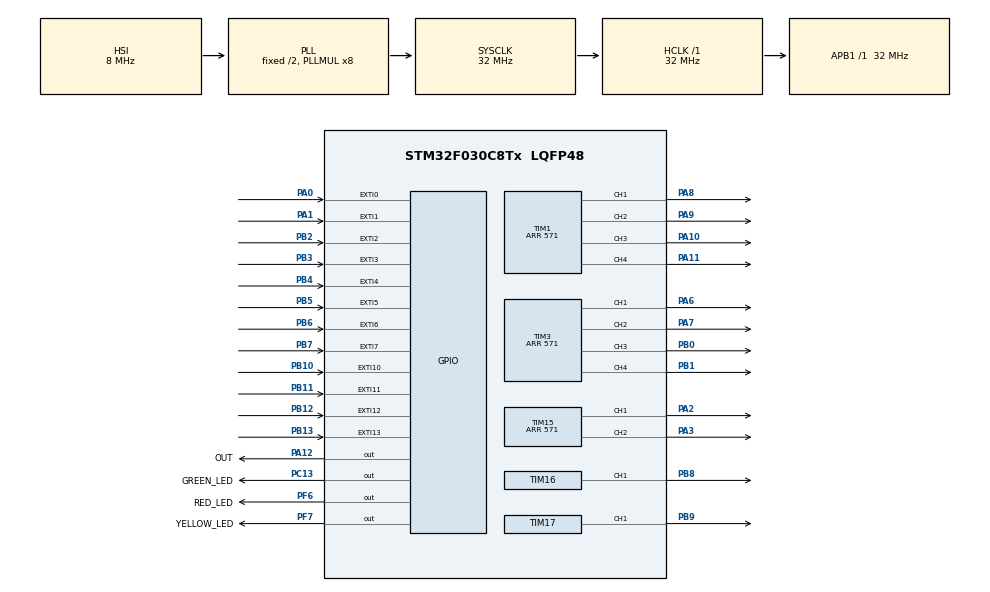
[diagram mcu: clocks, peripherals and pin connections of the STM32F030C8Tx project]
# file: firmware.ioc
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Mcu.Family=STM32F0
Mcu.Name=STM32F030C8Tx
Mcu.Package=LQFP48
NVIC.EXTI0_1_IRQn=true\:0\:0\:false\:false\:true\:true\:true
NVIC.EXTI2_3_IRQn=true\:0\:0\:false\:false\:true\:true\:true
NVIC.EXTI4_15_IRQn=true\:0\:0\:false\:false\:true\:true\:true
NVIC.TIM6_IRQn=true\:0\:0\:false\:false\:true\:true\:true
PA0.GPIO_ModeDefaultEXTI=GPIO_MODE_IT_FALLING
PA0.GPIO_PuPd=GPIO_PULLUP
PA0.Signal=GPXTI0
PA1.GPIO_ModeDefaultEXTI=GPIO_MODE_IT_FALLING
PA1.GPIO_PuPd=GPIO_PULLUP
PA1.Signal=GPXTI1
PA10.GPIO_PuPd=GPIO_PULLUP
PA10.Signal=S_TIM1_CH3
PA11.GPIO_PuPd=GPIO_PULLUP
PA11.Signal=S_TIM1_CH4
PA12.GPIO_Label=OUT
PA12.Signal=GPIO_Output
PA13.Mode=Serial_Wire
PA13.Signal=SYS_SWDIO
PA14.Mode=Serial_Wire
PA14.Signal=SYS_SWCLK
PA2.GPIO_PuPd=GPIO_PULLUP
PA2.Signal=S_TIM15_CH1
PA3.GPIO_PuPd=GPIO_PULLUP
PA3.Signal=S_TIM15_CH2
PA6.GPIO_PuPd=GPIO_PULLUP
PA6.Signal=S_TIM3_CH1
PA7.GPIO_PuPd=GPIO_PULLUP
PA7.Signal=S_TIM3_CH2
PA8.GPIO_PuPd=GPIO_PULLUP
PA8.Signal=S_TIM1_CH1
PA9.GPIO_PuPd=GPIO_PULLUP
PA9.Signal=S_TIM1_CH2
PB0.GPIO_PuPd=GPIO_PULLUP
PB0.Signal=S_TIM3_CH3
PB1.GPIO_PuPd=GPIO_PULLUP
PB1.Signal=S_TIM3_CH4
PB10.GPIO_ModeDefaultEXTI=GPIO_MODE_IT_FALLING
PB10.GPIO_PuPd=GPIO_PULLUP
PB10.Signal=GPXTI10
PB11.GPIO_ModeDefaultEXTI=GPIO_MODE_IT_FALLING
PB11.GPIO_PuPd=GPIO_PULLUP
PB11.Signal=GPXTI11
PB12.GPIO_ModeDefaultEXTI=GPIO_MODE_IT_FALLING
PB12.GPIO_PuPd=GPIO_PULLUP
PB12.Signal=GPXTI12
PB13.GPIO_ModeDefaultEXTI=GPIO_MODE_IT_FALLING
PB13.GPIO_PuPd=GPIO_PULLUP
PB13.Signal=GPXTI13
PB2.GPIO_ModeDefaultEXTI=GPIO_MODE_IT_FALLING
PB2.GPIO_PuPd=GPIO_PULLUP
PB2.Signal=GPXTI2
PB3.GPIO_ModeDefaultEXTI=GPIO_MODE_IT_FALLING
PB3.GPIO_PuPd=GPIO_PULLUP
PB3.Signal=GPXTI3
PB4.GPIO_ModeDefaultEXTI=GPIO_MODE_IT_FALLING
PB4.GPIO_PuPd=GPIO_PULLUP
PB4.Signal=GPXTI4
PB5.GPIO_ModeDefaultEXTI=GPIO_MODE_IT_FALLING
PB5.GPIO_PuPd=GPIO_PULLUP
PB5.Signal=GPXTI5
PB6.GPIO_ModeDefaultEXTI=GPIO_MODE_IT_FALLING
PB6.GPIO_PuPd=GPIO_PULLUP
PB6.Signal=GPXTI6
PB7.GPIO_ModeDefaultEXTI=GPIO_MODE_IT_FALLING
PB7.GPIO_PuPd=GPIO_PULLUP
PB7.Signal=GPXTI7
PB8.GPIO_PuPd=GPIO_PULLUP
PB8.Signal=S_TIM16_CH1
PB9.GPIO_PuPd=GPIO_PULLUP
PB9.Signal=S_TIM17_CH1
PC13.GPIO_Label=GREEN_LED
PC13.PinState=GPIO_PIN_SET
PC13.Signal=GPIO_Output
PF6.GPIO_Label=RED_LED
PF6.PinState=GPIO_PIN_SET
PF6.Signal=GPIO_Output
PF7.GPIO_Label=YELLOW_LED
PF7.PinState=GPIO_PIN_SET
PF7.Signal=GPIO_Output
ProjectManager.HeapSize=0x200
ProjectManager.StackSize=0x400
ProjectManager.TargetToolchain=MDK-ARM V5.27
RCC.AHBFreq_Value=32000000
RCC.APB1Freq_Value=32000000
RCC.APB1TimFreq_Value=32000000
RCC.HCLKFreq_Value=32000000
RCC.PLLMUL=RCC_PLL_MUL8
RCC.SYSCLKFreq_VALUE=32000000
RCC.SYSCLKSource=RCC_SYSCLKSOURCE_PLLCLK
SH.S_TIM15_CH1.0=TIM15_CH1,PWM Generation1 CH1
SH.S_TIM15_CH2.0=TIM15_CH2,PWM Generation2 CH2
SH.S_TIM16_CH1.0=TIM16_CH1,PWM Generation1 CH1
SH.S_TIM17_CH1.0=TIM17_CH1,PWM Generation1 CH1
SH.S_TIM1_CH1.0=TIM1_CH1,PWM Generation1 CH1
SH.S_TIM1_CH2.0=TIM1_CH2,PWM Generation2 CH2
SH.S_TIM1_CH3.0=TIM1_CH3,PWM Generation3 CH3
SH.S_TIM1_CH4.0=TIM1_CH4,PWM Generation4 CH4
SH.S_TIM3_CH1.0=TIM3_CH1,PWM Generation1 CH1
SH.S_TIM3_CH2.0=TIM3_CH2,PWM Generation2 CH2
SH.S_TIM3_CH3.0=TIM3_CH3,PWM Generation3 CH3
SH.S_TIM3_CH4.0=TIM3_CH4,PWM Generation4 CH4
TIM1.Channel-PWM\ Generation1\ CH1=TIM_CHANNEL_1
TIM1.Channel-PWM\ Generation2\ CH2=TIM_CHANNEL_2
TIM1.Channel-PWM\ Generation3\ CH3=TIM_CHANNEL_3
TIM1.Channel-PWM\ Generation4\ CH4=TIM_CHANNEL_4
TIM1.OCFastMode_PWM-PWM\ Generation1\ CH1=TIM_OCFAST_ENABLE
TIM1.OCFastMode_PWM-PWM\ Generation2\ CH2=TIM_OCFAST_ENABLE
TIM1.OCFastMode_PWM-PWM\ Generation3\ CH3=TIM_OCFAST_ENABLE
TIM1.OCFastMode_PWM-PWM\ Generation4\ CH4=TIM_OCFAST_ENABLE
TIM1.OCIdleState_1=TIM_OCIDLESTATE_SET
TIM1.OCIdleState_2=TIM_OCIDLESTATE_SET
TIM1.OCIdleState_3=TIM_OCIDLESTATE_SET
TIM1.OCIdleState_4=TIM_OCIDLESTATE_SET
TIM1.OCPolarity_1=TIM_OCPOLARITY_LOW
TIM1.OCPolarity_2=TIM_OCPOLARITY_LOW
TIM1.OCPolarity_3=TIM_OCPOLARITY_LOW
TIM1.OCPolarity_4=TIM_OCPOLARITY_LOW
TIM1.Period=571
TIM1.Pulse-PWM\ Generation1\ CH1=285
TIM1.Pulse-PWM\ Generation2\ CH2=285
TIM1.Pulse-PWM\ Generation3\ CH3=285
TIM1.Pulse-PWM\ Generation4\ CH4=285
TIM15.Channel-PWM\ Generation1\ CH1=TIM_CHANNEL_1
TIM15.Channel-PWM\ Generation2\ CH2=TIM_CHANNEL_2
TIM15.OCFastMode_PWM-PWM\ Generation1\ CH1=TIM_OCFAST_ENABLE
TIM15.OCFastMode_PWM-PWM\ Generation2\ CH2=TIM_OCFAST_ENABLE
TIM15.OCIdleState_1=TIM_OCIDLESTATE_SET
TIM15.OCIdleState_2=TIM_OCIDLESTATE_SET
TIM15.OCPolarity_1=TIM_OCPOLARITY_LOW
TIM15.OCPolarity_2=TIM_OCPOLARITY_LOW
TIM15.Period=571
TIM15.Pulse-PWM\ Generation1\ CH1=285
TIM15.Pulse-PWM\ Generation2\ CH2=285
TIM16.Channel=TIM_CHANNEL_1
TIM16.OCFastMode_PWM=TIM_OCFAST_ENABLE
TIM16.OCIdleState_1=TIM_OCIDLESTATE_SET
TIM16.OCPolarity_1=TIM_OCPOLARITY_LOW
TIM16.Period=571
TIM16.Pulse=285
TIM17.Channel=TIM_CHANNEL_1
TIM17.OCFastMode_PWM=TIM_OCFAST_ENABLE
TIM17.OCIdleState_1=TIM_OCIDLESTATE_SET
TIM17.OCPolarity_1=TIM_OCPOLARITY_LOW
TIM17.Period=571
TIM17.Pulse=285
TIM3.Channel-PWM\ Generation1\ CH1=TIM_CHANNEL_1
TIM3.Channel-PWM\ Generation2\ CH2=TIM_CHANNEL_2
TIM3.Channel-PWM\ Generation3\ CH3=TIM_CHANNEL_3
TIM3.Channel-PWM\ Generation4\ CH4=TIM_CHANNEL_4
TIM3.OCFastMode_PWM-PWM\ Generation1\ CH1=TIM_OCFAST_ENABLE
TIM3.OCFastMode_PWM-PWM\ Generation2\ CH2=TIM_OCFAST_ENABLE
TIM3.OCFastMode_PWM-PWM\ Generation3\ CH3=TIM_OCFAST_ENABLE
TIM3.OCFastMode_PWM-PWM\ Generation4\ CH4=TIM_OCFAST_ENABLE
TIM3.OCPolarity_1=TIM_OCPOLARITY_LOW
TIM3.OCPolarity_2=TIM_OCPOLARITY_LOW
TIM3.OCPolarity_3=TIM_OCPOLARITY_LOW
TIM3.OCPolarity_4=TIM_OCPOLARITY_LOW
TIM3.Period=571
TIM3.Pulse-PWM\ Generation1\ CH1=285
TIM3.Pulse-PWM\ Generation2\ CH2=285
TIM3.Pulse-PWM\ Generation3\ CH3=285
TIM3.Pulse-PWM\ Generation4\ CH4=285
TIM6.Period=50
TIM6.Prescaler=31
VP_TIM15_VS_ClockSourceINT.Mode=Internal
VP_TIM16_VS_ClockSourceINT.Mode=Enable_Timer
VP_TIM17_VS_ClockSourceINT.Mode=Enable_Timer
VP_TIM1_VS_ClockSourceINT.Mode=Internal
VP_TIM3_VS_ClockSourceINT.Mode=Internal
VP_TIM6_VS_ClockSourceINT.Mode=Enable_Timer
board=custom

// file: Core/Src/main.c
/* USER CODE BEGIN Header */
/**
  ******************************************************************************
  * @file           : main.c
  * @brief          : Main program body
  ******************************************************************************
  * @attention
  *
  * <h2><center>&copy; Copyright (c) 2020 STMicroelectronics.
  * All rights reserved.</center></h2>
  *
  * This software component is licensed by ST under BSD 3-Clause license,
  * the "License"; You may not use this file except in compliance with the
  * License. You may obtain a copy of the License at:
  *                        opensource.org/licenses/BSD-3-Clause
  *
  ******************************************************************************
  */
/* USER CODE END Header */
#include "main.h"

TIM_HandleTypeDef htim1;
TIM_HandleTypeDef htim3;
TIM_HandleTypeDef htim6;
TIM_HandleTypeDef htim15;
TIM_HandleTypeDef htim16;
TIM_HandleTypeDef htim17;

void SystemClock_Config(void);
static void MX_GPIO_Init(void);
static void MX_TIM1_Init(void);
static void MX_TIM3_Init(void);
static void MX_TIM15_Init(void);
static void MX_TIM17_Init(void);
static void MX_TIM16_Init(void);
static void MX_TIM6_Init(void);
/* USER CODE BEGIN PFP */
#define TIMER1 1
#define TIMER2 2
#define TIMER3 3

#define CHANNEL1 1
#define CHANNEL2	2
#define CHANNEL3	3
#define CHANNEL4	4

#define PWM_DISABLE_VALUE 0
#define PWM_ENABLE_VALUE 106

#define MIN_VAL 20
#define MAX_VAL 28

#define DEF_LED2_TIMEOUT 25
/* USER CODE END PFP */

/* USER CODE BEGIN 0 */
	#define DEF_BUZZER_ON_TIMEOUT 100
	#define MAX_SENSORS 12

	volatile unsigned char Sense,BuzzerOnTimeout;

unsigned char IRSelect;
unsigned char BlueLedTimeout,Led1Timeout,Led2Timeout,PulseDropCount,PulseDropCount1;
_Bool VendSensed,CheckIR,GreenLedOn;

volatile unsigned int MiniTicks,SmallTicks,SmallTickOver,OneSecOver;
_Bool Ms100_Over;

unsigned int SensorTimeout[MAX_SENSORS],PowerOnTimeout;
unsigned char ChannelSensed[MAX_SENSORS];
volatile unsigned char i,c;
volatile unsigned char MicroSeconds;
volatile unsigned int PulseLength[MAX_SENSORS],TempPulseLength,MinPulseLength,MaxPulseLength;
//void PWM_Config(unsigned char TIMER,unsigned char Channel,unsigned int Value);

void Generate_Burst(unsigned char bTIMER,unsigned char bChannel);
void Generate_Burst2(unsigned char bTIMER,unsigned char bChannel);

void Delay10MicroSeconds(unsigned int uSeconds);

unsigned char SenseThroughMaxMin;
/* USER CODE END 0 */

int main(void)
{

  /* MCU Configuration--------------------------------------------------------*/

  /* Reset of all peripherals, Initializes the Flash interface and the Systick. */
  HAL_Init();

  /* Configure the system clock */
  SystemClock_Config();

  /* Initialize all configured peripherals */
  MX_GPIO_Init();
  MX_TIM1_Init();
  MX_TIM3_Init();
  MX_TIM15_Init();
  MX_TIM17_Init();
  MX_TIM16_Init();
  MX_TIM6_Init();
  /* USER CODE BEGIN 2 */
	HAL_Delay(100);
	//HAL_GPIO_WritePin(RED_LED_GPIO_Port,RED_LED_Pin,GPIO_PIN_RESET);

	HAL_TIM_Base_Start_IT(&htim6);
	HAL_TIM_Base_Start(&htim3);
	HAL_TIM_Base_Start(&htim1);
	HAL_TIM_Base_Start(&htim17);
	HAL_TIM_Base_Start(&htim15);
	HAL_TIM_Base_Start(&htim16);

	HAL_TIM_PWM_Stop(&htim15,TIM_CHANNEL_1);
	HAL_TIM_PWM_Stop(&htim17,TIM_CHANNEL_1);
	HAL_TIM_PWM_Stop(&htim15,TIM_CHANNEL_2);
	HAL_TIM_PWM_Stop(&htim16,TIM_CHANNEL_1);
	HAL_TIM_PWM_Stop(&htim3,TIM_CHANNEL_1);
	HAL_TIM_PWM_Stop(&htim1,TIM_CHANNEL_4);
	HAL_TIM_PWM_Stop(&htim3,TIM_CHANNEL_2);
	HAL_TIM_PWM_Stop(&htim1,TIM_CHANNEL_3);
	HAL_TIM_PWM_Stop(&htim3,TIM_CHANNEL_3);
	HAL_TIM_PWM_Stop(&htim1,TIM_CHANNEL_2);
	HAL_TIM_PWM_Stop(&htim3,TIM_CHANNEL_4);
	HAL_TIM_PWM_Stop(&htim1,TIM_CHANNEL_1);

	IRSelect=0;
	PowerOnTimeout = 500;
	MinPulseLength = 0xFFFF;
	MaxPulseLength = 0;

  /* USER CODE END 2 */

  /* Infinite loop */
  while (1)
  {

    /* USER CODE BEGIN 3 */

	//	IR_Interrupt=0;

		switch(IRSelect)
		{
			case 0:

				HAL_TIM_PWM_Start(&htim15,TIM_CHANNEL_1);
			break;

			case 1:

				HAL_TIM_PWM_Start(&htim17,TIM_CHANNEL_1);
			break;

			case 2:

				HAL_TIM_PWM_Start(&htim15,TIM_CHANNEL_2);

			break;

			case 3:

				HAL_TIM_PWM_Start(&htim16,TIM_CHANNEL_1);

			break;

			case 4:

				HAL_TIM_PWM_Start(&htim3,TIM_CHANNEL_1);

			break;

			case 5:

				HAL_TIM_PWM_Start(&htim1,TIM_CHANNEL_4);

			break;

			case 6:
				HAL_TIM_PWM_Start(&htim3,TIM_CHANNEL_2);

			break;

			case 7:

				HAL_TIM_PWM_Start(&htim1,TIM_CHANNEL_3);

			break;

//			case 8:

//				HAL_TIM_PWM_Start(&htim3,TIM_CHANNEL_3);
//
//			break;
//
//			case 9:
//				HAL_TIM_PWM_Start(&htim1,TIM_CHANNEL_2);
//
//			break;
//
//			case 10:
//				HAL_TIM_PWM_Start(&htim3,TIM_CHANNEL_4);
//
//			break;
//
//			case 11:
//				HAL_TIM_PWM_Start(&htim1,TIM_CHANNEL_1);
//
//			break;
		}

		Delay10MicroSeconds(2);
		//HAL_Delay(2);

		switch(IRSelect)
		{
			case 0:

				HAL_TIM_PWM_Stop(&htim15,TIM_CHANNEL_1);
			break;

			case 1:

				HAL_TIM_PWM_Stop(&htim17,TIM_CHANNEL_1);
			break;

			case 2:

				HAL_TIM_PWM_Stop(&htim15,TIM_CHANNEL_2);

			break;

			case 3:

				HAL_TIM_PWM_Stop(&htim16,TIM_CHANNEL_1);

			break;

			case 4:

				HAL_TIM_PWM_Stop(&htim3,TIM_CHANNEL_1);

			break;

			case 5:

				HAL_TIM_PWM_Stop(&htim1,TIM_CHANNEL_4);

			break;

			case 6:
				HAL_TIM_PWM_Stop(&htim3,TIM_CHANNEL_2);

			break;

			case 7:

				HAL_TIM_PWM_Stop(&htim1,TIM_CHANNEL_3);

			break;

//			case 8:

//				HAL_TIM_PWM_Stop(&htim3,TIM_CHANNEL_3);
//
//			break;
//
//			case 9:
//				HAL_TIM_PWM_Stop(&htim1,TIM_CHANNEL_2);
//
//			break;
//
//			case 10:
//				HAL_TIM_PWM_Stop(&htim3,TIM_CHANNEL_4);
//
//			break;
//
//			case 11:
//				HAL_TIM_PWM_Stop(&htim1,TIM_CHANNEL_1);
//
//			break;
		}

		//Delay10MicroSeconds(12);
		//HAL_Delay(2);

		IRSelect++;
		if(IRSelect >= MAX_SENSORS)
		{
			IRSelect=0;
		}

		if(SmallTickOver)
		{
			SmallTickOver=0;

			if(Led2Timeout > 0)
			{
				Led2Timeout--;
				if(Led2Timeout == 0)
				{
					//HAL_GPIO_WritePin(RED_LED_GPIO_Port,RED_LED_Pin,GPIO_PIN_SET);
					HAL_GPIO_WritePin(OUT_GPIO_Port,OUT_Pin,GPIO_PIN_RESET);
				}
			}

			if(BuzzerOnTimeout > 0)
			{
				BuzzerOnTimeout--;
				if(BuzzerOnTimeout == 0)
				{
					HAL_GPIO_WritePin(GREEN_LED_GPIO_Port,GREEN_LED_Pin,GPIO_PIN_SET);
				}

			}

			if(PowerOnTimeout>0)
			{
				PowerOnTimeout--;
			}
			else
			{
				//
				/*
				MinPulseLength = TempPulseLength;
					}

					if(TempPulseLength > MaxPulseLength)
					{
						MaxPulseLength
				*/

				if(OneSecOver)
				{
					OneSecOver=0;

					if(MinPulseLength < MIN_VAL )
					{
						HAL_GPIO_WritePin(YELLOW_LED_GPIO_Port,YELLOW_LED_Pin,GPIO_PIN_RESET);

//						if(SenseThroughMaxMin ==0)
//						{
//							HAL_GPIO_WritePin(OUT_GPIO_Port,OUT_Pin,GPIO_PIN_SET);
//							Led2Timeout=DEF_LED2_TIMEOUT;
//							SenseThroughMaxMin=1;
//						}
					}
					else if(MaxPulseLength > MAX_VAL)
					{
						HAL_GPIO_WritePin(YELLOW_LED_GPIO_Port,YELLOW_LED_Pin,GPIO_PIN_RESET);
//						if(SenseThroughMaxMin ==0)
//						{
//							HAL_GPIO_WritePin(OUT_GPIO_Port,OUT_Pin,GPIO_PIN_SET);
//							Led2Timeout=DEF_LED2_TIMEOUT;
//							SenseThroughMaxMin=1;
//						}
					}
					else
					{
						HAL_GPIO_WritePin(YELLOW_LED_GPIO_Port,YELLOW_LED_Pin,GPIO_PIN_SET);
						SenseThroughMaxMin=0;
					}

					MinPulseLength = 0xFFFF;
					MaxPulseLength = 0;
				}

			}
		}

  }
  /* USER CODE END 3 */
}

void SystemClock_Config(void)
{
  RCC_OscInitTypeDef RCC_OscInitStruct = {0};
  RCC_ClkInitTypeDef RCC_ClkInitStruct = {0};

  /** Initializes the RCC Oscillators according to the specified parameters
  * in the RCC_OscInitTypeDef structure.
  */
  RCC_OscInitStruct.OscillatorType = RCC_OSCILLATORTYPE_HSI;
  RCC_OscInitStruct.HSIState = RCC_HSI_ON;
  RCC_OscInitStruct.HSICalibrationValue = RCC_HSICALIBRATION_DEFAULT;
  RCC_OscInitStruct.PLL.PLLState = RCC_PLL_ON;
  RCC_OscInitStruct.PLL.PLLSource = RCC_PLLSOURCE_HSI;
  RCC_OscInitStruct.PLL.PLLMUL = RCC_PLL_MUL8;
  RCC_OscInitStruct.PLL.PREDIV = RCC_PREDIV_DIV1;
  if (HAL_RCC_OscConfig(&RCC_OscInitStruct) != HAL_OK)
  {
    Error_Handler();
  }
  /** Initializes the CPU, AHB and APB buses clocks
  */
  RCC_ClkInitStruct.ClockType = RCC_CLOCKTYPE_HCLK|RCC_CLOCKTYPE_SYSCLK
                              |RCC_CLOCKTYPE_PCLK1;
  RCC_ClkInitStruct.SYSCLKSource = RCC_SYSCLKSOURCE_PLLCLK;
  RCC_ClkInitStruct.AHBCLKDivider = RCC_SYSCLK_DIV1;
  RCC_ClkInitStruct.APB1CLKDivider = RCC_HCLK_DIV1;

  if (HAL_RCC_ClockConfig(&RCC_ClkInitStruct, FLASH_LATENCY_1) != HAL_OK)
  {
    Error_Handler();
  }
}

static void MX_TIM1_Init(void)
{

  TIM_ClockConfigTypeDef sClockSourceConfig = {0};
  TIM_MasterConfigTypeDef sMasterConfig = {0};
  TIM_OC_InitTypeDef sConfigOC = {0};
  TIM_BreakDeadTimeConfigTypeDef sBreakDeadTimeConfig = {0};

  htim1.Instance = TIM1;
  htim1.Init.Prescaler = 0;
  htim1.Init.CounterMode = TIM_COUNTERMODE_UP;
  htim1.Init.Period = 571;
  htim1.Init.ClockDivision = TIM_CLOCKDIVISION_DIV1;
  htim1.Init.RepetitionCounter = 0;
  htim1.Init.AutoReloadPreload = TIM_AUTORELOAD_PRELOAD_DISABLE;
  if (HAL_TIM_Base_Init(&htim1) != HAL_OK)
  {
    Error_Handler();
  }
  sClockSourceConfig.ClockSource = TIM_CLOCKSOURCE_INTERNAL;
  if (HAL_TIM_ConfigClockSource(&htim1, &sClockSourceConfig) != HAL_OK)
  {
    Error_Handler();
  }
  if (HAL_TIM_PWM_Init(&htim1) != HAL_OK)
  {
    Error_Handler();
  }
  sMasterConfig.MasterOutputTrigger = TIM_TRGO_RESET;
  sMasterConfig.MasterSlaveMode = TIM_MASTERSLAVEMODE_DISABLE;
  if (HAL_TIMEx_MasterConfigSynchronization(&htim1, &sMasterConfig) != HAL_OK)
  {
    Error_Handler();
  }
  sConfigOC.OCMode = TIM_OCMODE_PWM1;
  sConfigOC.Pulse = 285;
  sConfigOC.OCPolarity = TIM_OCPOLARITY_LOW;
  sConfigOC.OCNPolarity = TIM_OCNPOLARITY_HIGH;
  sConfigOC.OCFastMode = TIM_OCFAST_ENABLE;
  sConfigOC.OCIdleState = TIM_OCIDLESTATE_SET;
  sConfigOC.OCNIdleState = TIM_OCNIDLESTATE_RESET;
  if (HAL_TIM_PWM_ConfigChannel(&htim1, &sConfigOC, TIM_CHANNEL_1) != HAL_OK)
  {
    Error_Handler();
  }
  if (HAL_TIM_PWM_ConfigChannel(&htim1, &sConfigOC, TIM_CHANNEL_2) != HAL_OK)
  {
    Error_Handler();
  }
  if (HAL_TIM_PWM_ConfigChannel(&htim1, &sConfigOC, TIM_CHANNEL_3) != HAL_OK)
  {
    Error_Handler();
  }
  if (HAL_TIM_PWM_ConfigChannel(&htim1, &sConfigOC, TIM_CHANNEL_4) != HAL_OK)
  {
    Error_Handler();
  }
  sBreakDeadTimeConfig.OffStateRunMode = TIM_OSSR_DISABLE;
  sBreakDeadTimeConfig.OffStateIDLEMode = TIM_OSSI_DISABLE;
  sBreakDeadTimeConfig.LockLevel = TIM_LOCKLEVEL_OFF;
  sBreakDeadTimeConfig.DeadTime = 0;
  sBreakDeadTimeConfig.BreakState = TIM_BREAK_DISABLE;
  sBreakDeadTimeConfig.BreakPolarity = TIM_BREAKPOLARITY_HIGH;
  sBreakDeadTimeConfig.AutomaticOutput = TIM_AUTOMATICOUTPUT_DISABLE;
  if (HAL_TIMEx_ConfigBreakDeadTime(&htim1, &sBreakDeadTimeConfig) != HAL_OK)
  {
    Error_Handler();
  }
  HAL_TIM_MspPostInit(&htim1);

}

static void MX_TIM3_Init(void)
{

  TIM_ClockConfigTypeDef sClockSourceConfig = {0};
  TIM_MasterConfigTypeDef sMasterConfig = {0};
  TIM_OC_InitTypeDef sConfigOC = {0};

  htim3.Instance = TIM3;
  htim3.Init.Prescaler = 0;
  htim3.Init.CounterMode = TIM_COUNTERMODE_UP;
  htim3.Init.Period = 571;
  htim3.Init.ClockDivision = TIM_CLOCKDIVISION_DIV1;
  htim3.Init.AutoReloadPreload = TIM_AUTORELOAD_PRELOAD_DISABLE;
  if (HAL_TIM_Base_Init(&htim3) != HAL_OK)
  {
    Error_Handler();
  }
  sClockSourceConfig.ClockSource = TIM_CLOCKSOURCE_INTERNAL;
  if (HAL_TIM_ConfigClockSource(&htim3, &sClockSourceConfig) != HAL_OK)
  {
    Error_Handler();
  }
  if (HAL_TIM_PWM_Init(&htim3) != HAL_OK)
  {
    Error_Handler();
  }
  sMasterConfig.MasterOutputTrigger = TIM_TRGO_RESET;
  sMasterConfig.MasterSlaveMode = TIM_MASTERSLAVEMODE_DISABLE;
  if (HAL_TIMEx_MasterConfigSynchronization(&htim3, &sMasterConfig) != HAL_OK)
  {
    Error_Handler();
  }
  sConfigOC.OCMode = TIM_OCMODE_PWM1;
  sConfigOC.Pulse = 285;
  sConfigOC.OCPolarity = TIM_OCPOLARITY_LOW;
  sConfigOC.OCFastMode = TIM_OCFAST_ENABLE;
  if (HAL_TIM_PWM_ConfigChannel(&htim3, &sConfigOC, TIM_CHANNEL_1) != HAL_OK)
  {
    Error_Handler();
  }
  if (HAL_TIM_PWM_ConfigChannel(&htim3, &sConfigOC, TIM_CHANNEL_2) != HAL_OK)
  {
    Error_Handler();
  }
  if (HAL_TIM_PWM_ConfigChannel(&htim3, &sConfigOC, TIM_CHANNEL_3) != HAL_OK)
  {
    Error_Handler();
  }
  if (HAL_TIM_PWM_ConfigChannel(&htim3, &sConfigOC, TIM_CHANNEL_4) != HAL_OK)
  {
    Error_Handler();
  }
  HAL_TIM_MspPostInit(&htim3);

}

static void MX_TIM6_Init(void)
{

  htim6.Instance = TIM6;
  htim6.Init.Prescaler = 31;
  htim6.Init.CounterMode = TIM_COUNTERMODE_UP;
  htim6.Init.Period = 50;
  htim6.Init.AutoReloadPreload = TIM_AUTORELOAD_PRELOAD_DISABLE;
  if (HAL_TIM_Base_Init(&htim6) != HAL_OK)
  {
    Error_Handler();
  }

}

static void MX_TIM15_Init(void)
{

  TIM_ClockConfigTypeDef sClockSourceConfig = {0};
  TIM_MasterConfigTypeDef sMasterConfig = {0};
  TIM_OC_InitTypeDef sConfigOC = {0};
  TIM_BreakDeadTimeConfigTypeDef sBreakDeadTimeConfig = {0};

  htim15.Instance = TIM15;
  htim15.Init.Prescaler = 0;
  htim15.Init.CounterMode = TIM_COUNTERMODE_UP;
  htim15.Init.Period = 571;
  htim15.Init.ClockDivision = TIM_CLOCKDIVISION_DIV1;
  htim15.Init.RepetitionCounter = 0;
  htim15.Init.AutoReloadPreload = TIM_AUTORELOAD_PRELOAD_DISABLE;
  if (HAL_TIM_Base_Init(&htim15) != HAL_OK)
  {
    Error_Handler();
  }
  sClockSourceConfig.ClockSource = TIM_CLOCKSOURCE_INTERNAL;
  if (HAL_TIM_ConfigClockSource(&htim15, &sClockSourceConfig) != HAL_OK)
  {
    Error_Handler();
  }
  if (HAL_TIM_PWM_Init(&htim15) != HAL_OK)
  {
    Error_Handler();
  }
  sMasterConfig.MasterOutputTrigger = TIM_TRGO_RESET;
  sMasterConfig.MasterSlaveMode = TIM_MASTERSLAVEMODE_DISABLE;
  if (HAL_TIMEx_MasterConfigSynchronization(&htim15, &sMasterConfig) != HAL_OK)
  {
    Error_Handler();
  }
  sConfigOC.OCMode = TIM_OCMODE_PWM1;
  sConfigOC.Pulse = 285;
  sConfigOC.OCPolarity = TIM_OCPOLARITY_LOW;
  sConfigOC.OCNPolarity = TIM_OCNPOLARITY_HIGH;
  sConfigOC.OCFastMode = TIM_OCFAST_ENABLE;
  sConfigOC.OCIdleState = TIM_OCIDLESTATE_SET;
  sConfigOC.OCNIdleState = TIM_OCNIDLESTATE_RESET;
  if (HAL_TIM_PWM_ConfigChannel(&htim15, &sConfigOC, TIM_CHANNEL_1) != HAL_OK)
  {
    Error_Handler();
  }
  if (HAL_TIM_PWM_ConfigChannel(&htim15, &sConfigOC, TIM_CHANNEL_2) != HAL_OK)
  {
    Error_Handler();
  }
  sBreakDeadTimeConfig.OffStateRunMode = TIM_OSSR_DISABLE;
  sBreakDeadTimeConfig.OffStateIDLEMode = TIM_OSSI_DISABLE;
  sBreakDeadTimeConfig.LockLevel = TIM_LOCKLEVEL_OFF;
  sBreakDeadTimeConfig.DeadTime = 0;
  sBreakDeadTimeConfig.BreakState = TIM_BREAK_DISABLE;
  sBreakDeadTimeConfig.BreakPolarity = TIM_BREAKPOLARITY_HIGH;
  sBreakDeadTimeConfig.AutomaticOutput = TIM_AUTOMATICOUTPUT_DISABLE;
  if (HAL_TIMEx_ConfigBreakDeadTime(&htim15, &sBreakDeadTimeConfig) != HAL_OK)
  {
    Error_Handler();
  }
  HAL_TIM_MspPostInit(&htim15);

}

static void MX_TIM16_Init(void)
{

  TIM_OC_InitTypeDef sConfigOC = {0};
  TIM_BreakDeadTimeConfigTypeDef sBreakDeadTimeConfig = {0};

  htim16.Instance = TIM16;
  htim16.Init.Prescaler = 0;
  htim16.Init.CounterMode = TIM_COUNTERMODE_UP;
  htim16.Init.Period = 571;
  htim16.Init.ClockDivision = TIM_CLOCKDIVISION_DIV1;
  htim16.Init.RepetitionCounter = 0;
  htim16.Init.AutoReloadPreload = TIM_AUTORELOAD_PRELOAD_DISABLE;
  if (HAL_TIM_Base_Init(&htim16) != HAL_OK)
  {
    Error_Handler();
  }
  if (HAL_TIM_PWM_Init(&htim16) != HAL_OK)
  {
    Error_Handler();
  }
  sConfigOC.OCMode = TIM_OCMODE_PWM1;
  sConfigOC.Pulse = 285;
  sConfigOC.OCPolarity = TIM_OCPOLARITY_LOW;
  sConfigOC.OCNPolarity = TIM_OCNPOLARITY_HIGH;
  sConfigOC.OCFastMode = TIM_OCFAST_ENABLE;
  sConfigOC.OCIdleState = TIM_OCIDLESTATE_SET;
  sConfigOC.OCNIdleState = TIM_OCNIDLESTATE_RESET;
  if (HAL_TIM_PWM_ConfigChannel(&htim16, &sConfigOC, TIM_CHANNEL_1) != HAL_OK)
  {
    Error_Handler();
  }
  sBreakDeadTimeConfig.OffStateRunMode = TIM_OSSR_DISABLE;
  sBreakDeadTimeConfig.OffStateIDLEMode = TIM_OSSI_DISABLE;
  sBreakDeadTimeConfig.LockLevel = TIM_LOCKLEVEL_OFF;
  sBreakDeadTimeConfig.DeadTime = 0;
  sBreakDeadTimeConfig.BreakState = TIM_BREAK_DISABLE;
  sBreakDeadTimeConfig.BreakPolarity = TIM_BREAKPOLARITY_HIGH;
  sBreakDeadTimeConfig.AutomaticOutput = TIM_AUTOMATICOUTPUT_DISABLE;
  if (HAL_TIMEx_ConfigBreakDeadTime(&htim16, &sBreakDeadTimeConfig) != HAL_OK)
  {
    Error_Handler();
  }
  HAL_TIM_MspPostInit(&htim16);

}

static void MX_TIM17_Init(void)
{

  TIM_OC_InitTypeDef sConfigOC = {0};
  TIM_BreakDeadTimeConfigTypeDef sBreakDeadTimeConfig = {0};

  htim17.Instance = TIM17;
  htim17.Init.Prescaler = 0;
  htim17.Init.CounterMode = TIM_COUNTERMODE_UP;
  htim17.Init.Period = 571;
  htim17.Init.ClockDivision = TIM_CLOCKDIVISION_DIV1;
  htim17.Init.RepetitionCounter = 0;
  htim17.Init.AutoReloadPreload = TIM_AUTORELOAD_PRELOAD_DISABLE;
  if (HAL_TIM_Base_Init(&htim17) != HAL_OK)
  {
    Error_Handler();
  }
  if (HAL_TIM_PWM_Init(&htim17) != HAL_OK)
  {
    Error_Handler();
  }
  sConfigOC.OCMode = TIM_OCMODE_PWM1;
  sConfigOC.Pulse = 285;
  sConfigOC.OCPolarity = TIM_OCPOLARITY_LOW;
  sConfigOC.OCNPolarity = TIM_OCNPOLARITY_HIGH;
  sConfigOC.OCFastMode = TIM_OCFAST_ENABLE;
  sConfigOC.OCIdleState = TIM_OCIDLESTATE_SET;
  sConfigOC.OCNIdleState = TIM_OCNIDLESTATE_RESET;
  if (HAL_TIM_PWM_ConfigChannel(&htim17, &sConfigOC, TIM_CHANNEL_1) != HAL_OK)
  {
    Error_Handler();
  }
  sBreakDeadTimeConfig.OffStateRunMode = TIM_OSSR_DISABLE;
  sBreakDeadTimeConfig.OffStateIDLEMode = TIM_OSSI_DISABLE;
  sBreakDeadTimeConfig.LockLevel = TIM_LOCKLEVEL_OFF;
  sBreakDeadTimeConfig.DeadTime = 0;
  sBreakDeadTimeConfig.BreakState = TIM_BREAK_DISABLE;
  sBreakDeadTimeConfig.BreakPolarity = TIM_BREAKPOLARITY_HIGH;
  sBreakDeadTimeConfig.AutomaticOutput = TIM_AUTOMATICOUTPUT_DISABLE;
  if (HAL_TIMEx_ConfigBreakDeadTime(&htim17, &sBreakDeadTimeConfig) != HAL_OK)
  {
    Error_Handler();
  }
  HAL_TIM_MspPostInit(&htim17);

}

static void MX_GPIO_Init(void)
{
  GPIO_InitTypeDef GPIO_InitStruct = {0};

  /* GPIO Ports Clock Enable */
  __HAL_RCC_GPIOC_CLK_ENABLE();
  __HAL_RCC_GPIOA_CLK_ENABLE();
  __HAL_RCC_GPIOB_CLK_ENABLE();
  __HAL_RCC_GPIOF_CLK_ENABLE();

  /*Configure GPIO pin Output Level */
  HAL_GPIO_WritePin(GREEN_LED_GPIO_Port, GREEN_LED_Pin, GPIO_PIN_SET);

  /*Configure GPIO pin Output Level */
  HAL_GPIO_WritePin(OUT_GPIO_Port, OUT_Pin, GPIO_PIN_RESET);

  /*Configure GPIO pin Output Level */
  HAL_GPIO_WritePin(GPIOF, RED_LED_Pin|YELLOW_LED_Pin, GPIO_PIN_SET);

  /*Configure GPIO pin : GREEN_LED_Pin */
  GPIO_InitStruct.Pin = GREEN_LED_Pin;
  GPIO_InitStruct.Mode = GPIO_MODE_OUTPUT_PP;
  GPIO_InitStruct.Pull = GPIO_NOPULL;
  GPIO_InitStruct.Speed = GPIO_SPEED_FREQ_LOW;
  HAL_GPIO_Init(GREEN_LED_GPIO_Port, &GPIO_InitStruct);

  /*Configure GPIO pins : PA0 PA1 */
  GPIO_InitStruct.Pin = GPIO_PIN_0|GPIO_PIN_1;
  GPIO_InitStruct.Mode = GPIO_MODE_IT_FALLING;
  GPIO_InitStruct.Pull = GPIO_PULLUP;
  HAL_GPIO_Init(GPIOA, &GPIO_InitStruct);

  /*Configure GPIO pins : PB2 PB10 PB11 PB12
                           PB13 PB3 PB4 PB5
                           PB6 PB7 */
  GPIO_InitStruct.Pin = GPIO_PIN_2|GPIO_PIN_10|GPIO_PIN_11|GPIO_PIN_12
                          |GPIO_PIN_13|GPIO_PIN_3|GPIO_PIN_4|GPIO_PIN_5
                          |GPIO_PIN_6|GPIO_PIN_7;
  GPIO_InitStruct.Mode = GPIO_MODE_IT_FALLING;
  GPIO_InitStruct.Pull = GPIO_PULLUP;
  HAL_GPIO_Init(GPIOB, &GPIO_InitStruct);

  /*Configure GPIO pin : OUT_Pin */
  GPIO_InitStruct.Pin = OUT_Pin;
  GPIO_InitStruct.Mode = GPIO_MODE_OUTPUT_PP;
  GPIO_InitStruct.Pull = GPIO_NOPULL;
  GPIO_InitStruct.Speed = GPIO_SPEED_FREQ_LOW;
  HAL_GPIO_Init(OUT_GPIO_Port, &GPIO_InitStruct);

  /*Configure GPIO pins : RED_LED_Pin YELLOW_LED_Pin */
  GPIO_InitStruct.Pin = RED_LED_Pin|YELLOW_LED_Pin;
  GPIO_InitStruct.Mode = GPIO_MODE_OUTPUT_PP;
  GPIO_InitStruct.Pull = GPIO_NOPULL;
  GPIO_InitStruct.Speed = GPIO_SPEED_FREQ_LOW;
  HAL_GPIO_Init(GPIOF, &GPIO_InitStruct);

  /* EXTI interrupt init*/
  HAL_NVIC_SetPriority(EXTI0_1_IRQn, 0, 0);
  HAL_NVIC_EnableIRQ(EXTI0_1_IRQn);

  HAL_NVIC_SetPriority(EXTI2_3_IRQn, 0, 0);
  HAL_NVIC_EnableIRQ(EXTI2_3_IRQn);

  HAL_NVIC_SetPriority(EXTI4_15_IRQn, 0, 0);
  HAL_NVIC_EnableIRQ(EXTI4_15_IRQn);

}

/* USER CODE BEGIN 4 */

void ActChannelInterrupt(unsigned char channelNum)
{
	if( (SensorTimeout[channelNum] > MAX_VAL) || (SensorTimeout[channelNum] < MIN_VAL) )
	{
		//HAL_GPIO_WritePin(RED_LED_GPIO_Port,RED_LED_Pin,GPIO_PIN_RESET);
		HAL_GPIO_WritePin(OUT_GPIO_Port,OUT_Pin,GPIO_PIN_SET);
		Led2Timeout=DEF_LED2_TIMEOUT;

		Sense=1;
	}
	TempPulseLength = PulseLength[channelNum];
	PulseLength[channelNum] = SensorTimeout[channelNum];
	SensorTimeout[channelNum]=0;
}

void HAL_GPIO_EXTI_Callback(uint16_t GPIO_Pin)
{
	Sense=0;
	// IR_Interrupt
	if(GPIO_Pin == GPIO_PIN_0)
	{
		ActChannelInterrupt(0);
	}

	else if(GPIO_Pin == GPIO_PIN_1)
	{
		ActChannelInterrupt(1);
	}

	else if(GPIO_Pin == GPIO_PIN_2)
	{
		ActChannelInterrupt(2);
	}

	else if(GPIO_Pin == GPIO_PIN_3)
	{
		ActChannelInterrupt(3);
	}

	else if(GPIO_Pin == GPIO_PIN_4)
	{
		ActChannelInterrupt(4);
	}

	else if(GPIO_Pin == GPIO_PIN_5)
	{
		ActChannelInterrupt(5);
	}

	else if(GPIO_Pin == GPIO_PIN_6)
	{
		ActChannelInterrupt(6);
	}

	else if(GPIO_Pin == GPIO_PIN_7)
	{
		ActChannelInterrupt(7);
	}

//	if(GPIO_Pin == GPIO_PIN_10)
//	{
//		ActChannelInterrupt(8);
//	}
//
//	if(GPIO_Pin == GPIO_PIN_11)
//	{
//		ActChannelInterrupt(9);
//	}
//	else if(GPIO_Pin == GPIO_PIN_12)
//	{
//		ActChannelInterrupt(10);
//	}
//	else if(GPIO_Pin == GPIO_PIN_13)
//	{
//		ActChannelInterrupt(11);
//	}
//

	if(Sense)
	{

		HAL_GPIO_WritePin(GREEN_LED_GPIO_Port,GREEN_LED_Pin,GPIO_PIN_RESET);
		BuzzerOnTimeout = DEF_BUZZER_ON_TIMEOUT;

	}

	if(PowerOnTimeout == 0)
	{
		if(TempPulseLength < MinPulseLength)
		{
			MinPulseLength = TempPulseLength;
		}

		if(TempPulseLength > MaxPulseLength)
		{
			MaxPulseLength = TempPulseLength;
		}
	}

}

void HAL_TIM_PeriodElapsedCallback(TIM_HandleTypeDef *htim)
{
	if(htim == &htim6)
	{
		// 10uS interrupt
		MiniTicks++;
		if(MicroSeconds > 0)
			MicroSeconds--;

		for(i=0;i<MAX_SENSORS;i++)
		{
			if(SensorTimeout[i] < 0xFFFF)
			{
				SensorTimeout[i]++;
			}
		}

		if(MiniTicks >= 20)
		{
			MiniTicks=0; // 1Ms Over
			SmallTicks++;

			SmallTickOver=1;

			if( (SmallTicks % 100) == 0)
			{
				Ms100_Over=1;
			}

			if(SmallTicks >= 1000)
			{
				SmallTicks=0;
				OneSecOver=1;
				//HAL_GPIO_TogglePin(YELLOW_LED_GPIO_Port,YELLOW_LED_Pin);
			}
		}
	}
}

void Delay10MicroSeconds(unsigned int uSeconds)
{
	MicroSeconds=uSeconds;
	while(MicroSeconds > 0);
}

/* USER CODE END 4 */

void Error_Handler(void)
{
}

/************************ (C) COPYRIGHT STMicroelectronics *****END OF FILE****/
